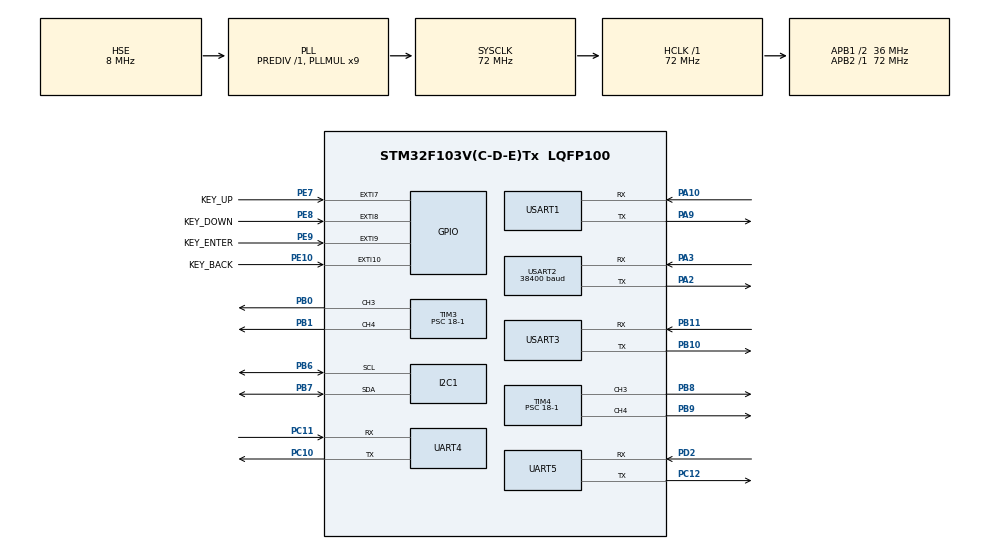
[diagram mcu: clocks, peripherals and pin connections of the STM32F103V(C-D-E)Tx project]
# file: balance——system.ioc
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Dma.Request0=USART2_RX
Dma.USART2_RX.0.Direction=DMA_PERIPH_TO_MEMORY
Dma.USART2_RX.0.Instance=DMA1_Channel6
Dma.USART2_RX.0.MemDataAlignment=DMA_MDATAALIGN_BYTE
Dma.USART2_RX.0.MemInc=DMA_MINC_ENABLE
Dma.USART2_RX.0.Mode=DMA_CIRCULAR
Dma.USART2_RX.0.PeriphDataAlignment=DMA_PDATAALIGN_BYTE
Dma.USART2_RX.0.PeriphInc=DMA_PINC_DISABLE
Dma.USART2_RX.0.Priority=DMA_PRIORITY_HIGH
Mcu.Family=STM32F1
Mcu.Name=STM32F103V(C-D-E)Tx
Mcu.Package=LQFP100
NVIC.DMA1_Channel6_IRQn=true\:2\:0\:true\:false\:true\:false\:true\:true
NVIC.EXTI15_10_IRQn=true\:5\:0\:true\:false\:true\:true\:true\:true
NVIC.EXTI9_5_IRQn=true\:5\:0\:true\:false\:true\:true\:true\:true
NVIC.PriorityGroup=NVIC_PRIORITYGROUP_4
NVIC.TIM6_IRQn=true\:1\:0\:true\:false\:true\:true\:true\:true
NVIC.UART4_IRQn=true\:3\:0\:true\:false\:true\:true\:true\:true
NVIC.USART1_IRQn=true\:2\:0\:true\:false\:true\:true\:true\:true
NVIC.USART2_IRQn=true\:2\:0\:true\:false\:true\:true\:true\:true
NVIC.USART3_IRQn=true\:4\:0\:true\:false\:true\:true\:true\:true
OSC_IN.Mode=HSE-External-Oscillator
OSC_IN.Signal=RCC_OSC_IN
OSC_OUT.Mode=HSE-External-Oscillator
OSC_OUT.Signal=RCC_OSC_OUT
PA10.Mode=Asynchronous
PA10.Signal=USART1_RX
PA13.Mode=Serial_Wire
PA13.Signal=SYS_JTMS-SWDIO
PA14.Mode=Serial_Wire
PA14.Signal=SYS_JTCK-SWCLK
PA2.Mode=Asynchronous
PA2.Signal=USART2_TX
PA3.Mode=Asynchronous
PA3.Signal=USART2_RX
PA9.Mode=Asynchronous
PA9.Signal=USART1_TX
PB0.Signal=S_TIM3_CH3
PB1.Signal=S_TIM3_CH4
PB10.Mode=Asynchronous
PB10.Signal=USART3_TX
PB11.Mode=Asynchronous
PB11.Signal=USART3_RX
PB6.Mode=I2C
PB6.Signal=I2C1_SCL
PB7.Mode=I2C
PB7.Signal=I2C1_SDA
PB8.Signal=S_TIM4_CH3
PB9.Signal=S_TIM4_CH4
PC10.Mode=Asynchronous
PC10.Signal=UART4_TX
PC11.Mode=Asynchronous
PC11.Signal=UART4_RX
PC12.Mode=Asynchronous
PC12.Signal=UART5_TX
PD2.Mode=Asynchronous
PD2.Signal=UART5_RX
PE10.GPIO_Label=KEY_BACK
PE10.GPIO_ModeDefaultEXTI=GPIO_MODE_IT_FALLING
PE10.Signal=GPXTI10
PE7.GPIO_Label=KEY_UP
PE7.GPIO_ModeDefaultEXTI=GPIO_MODE_IT_FALLING
PE7.Signal=GPXTI7
PE8.GPIO_Label=KEY_DOWN
PE8.GPIO_ModeDefaultEXTI=GPIO_MODE_IT_FALLING
PE8.Signal=GPXTI8
PE9.GPIO_Label=KEY_ENTER
PE9.GPIO_ModeDefaultEXTI=GPIO_MODE_IT_FALLING
PE9.Signal=GPXTI9
ProjectManager.HeapSize=0x200
ProjectManager.StackSize=0x400
ProjectManager.TargetToolchain=MDK-ARM V5.32
RCC.AHBFreq_Value=72000000
RCC.APB1CLKDivider=RCC_HCLK_DIV2
RCC.APB1Freq_Value=36000000
RCC.APB1TimFreq_Value=72000000
RCC.APB2Freq_Value=72000000
RCC.APB2TimFreq_Value=72000000
RCC.HCLKFreq_Value=72000000
RCC.PLLMUL=RCC_PLL_MUL9
RCC.PLLSourceVirtual=RCC_PLLSOURCE_HSE
RCC.SYSCLKFreq_VALUE=72000000
RCC.SYSCLKSource=RCC_SYSCLKSOURCE_PLLCLK
RCC.USBFreq_Value=72000000
SH.S_TIM3_CH3.0=TIM3_CH3,PWM Generation3 CH3
SH.S_TIM3_CH4.0=TIM3_CH4,PWM Generation4 CH4
SH.S_TIM4_CH3.0=TIM4_CH3,PWM Generation3 CH3
SH.S_TIM4_CH4.0=TIM4_CH4,PWM Generation4 CH4
TIM3.Channel-PWM\ Generation3\ CH3=TIM_CHANNEL_3
TIM3.Channel-PWM\ Generation4\ CH4=TIM_CHANNEL_4
TIM3.Period=1000-1
TIM3.Prescaler=18-1
TIM4.Channel-PWM\ Generation3\ CH3=TIM_CHANNEL_3
TIM4.Channel-PWM\ Generation4\ CH4=TIM_CHANNEL_4
TIM4.Period=1000-1
TIM4.Prescaler=18-1
TIM6.Period=100-1
TIM6.Prescaler=7200-1
UART4.VirtualMode=Asynchronous
UART5.VirtualMode=Asynchronous
USART1.VirtualMode=VM_ASYNC
USART2.BaudRate=38400
USART2.VirtualMode=VM_ASYNC
USART3.Parity=PARITY_EVEN
USART3.VirtualMode=VM_ASYNC
USART3.WordLength=WORDLENGTH_9B
VP_CRC_VS_CRC.Mode=CRC_Activate
VP_TIM6_VS_ClockSourceINT.Mode=Enable_Timer
board=custom

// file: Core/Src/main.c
/* USER CODE BEGIN Header */
/**
  ******************************************************************************
  * @file           : main.c
  * @brief          : Main program body
  ******************************************************************************
  * @attention
  *
  * Copyright (c) 2026 STMicroelectronics.
  * All rights reserved.
  *
  * This software is licensed under terms that can be found in the LICENSE file
  * in the root directory of this software component.
  * If no LICENSE file comes with this software, it is provided AS-IS.
  *
  ******************************************************************************
  */
/* USER CODE END Header */
#include "main.h"
#include "crc.h"
#include "dma.h"
#include "i2c.h"
#include "tim.h"
#include "usart.h"
#include "gpio.h"

/* USER CODE BEGIN Includes */
#include "OLED.h"
#include "Vision.h"
#include "BallBeam.h"
#include "Task_Hmi.h"
#include "Task_Manager.h"
#include "APP_SENSOR.h"
#include "motor.h"
#include "tracking.h"
#include "dwt_time.h"
#include "Emm_V5.h"

/* USER CODE END Includes */

void SystemClock_Config(void);

int main(void)
{

  /* MCU Configuration--------------------------------------------------------*/

  /* Reset of all peripherals, Initializes the Flash interface and the Systick. */
  HAL_Init();

  /* Configure the system clock */
  SystemClock_Config();

  /* Initialize all configured peripherals */
  MX_GPIO_Init();
  MX_DMA_Init();
  MX_CRC_Init();
  MX_TIM6_Init();
  MX_UART4_Init();
  MX_UART5_Init();
  MX_USART1_UART_Init();
  MX_USART2_UART_Init();
  MX_USART3_UART_Init();
  MX_TIM3_Init();
  MX_TIM4_Init();
  MX_I2C1_Init();
  /* USER CODE BEGIN 2 */
  OLED_Init();
  DWT_Time_Init();
  Vision_Init(&huart4);
  BallBeam_Init();
  BallBeam_SetRun(0U);
  HAL_Delay(300U);
  Emm_V5_Origin_Trigger_Return(1U, 0U, false);
  TaskHmi_Init(&huart2);
  APP_SENSOR_Init(&huart3);
  Motor_Init();
  Tracking_Init();
  TaskManager_Init(1U);

  /* USER CODE END 2 */

  /* Infinite loop */
  while (1)
  {

    /* USER CODE BEGIN 3 */
    Vision_Task();
    BallBeam_Task();
    TaskHmi_Task();
    APP_SENSOR_Task();
    TaskManager_Task();
  }
  /* USER CODE END 3 */
}

void SystemClock_Config(void)
{
  RCC_OscInitTypeDef RCC_OscInitStruct = {0};
  RCC_ClkInitTypeDef RCC_ClkInitStruct = {0};

  /** Initializes the RCC Oscillators according to the specified parameters
  * in the RCC_OscInitTypeDef structure.
  */
  RCC_OscInitStruct.OscillatorType = RCC_OSCILLATORTYPE_HSE;
  RCC_OscInitStruct.HSEState = RCC_HSE_ON;
  RCC_OscInitStruct.HSEPredivValue = RCC_HSE_PREDIV_DIV1;
  RCC_OscInitStruct.HSIState = RCC_HSI_ON;
  RCC_OscInitStruct.PLL.PLLState = RCC_PLL_ON;
  RCC_OscInitStruct.PLL.PLLSource = RCC_PLLSOURCE_HSE;
  RCC_OscInitStruct.PLL.PLLMUL = RCC_PLL_MUL9;
  if (HAL_RCC_OscConfig(&RCC_OscInitStruct) != HAL_OK)
  {
    Error_Handler();
  }

  /** Initializes the CPU, AHB and APB buses clocks
  */
  RCC_ClkInitStruct.ClockType = RCC_CLOCKTYPE_HCLK|RCC_CLOCKTYPE_SYSCLK
                              |RCC_CLOCKTYPE_PCLK1|RCC_CLOCKTYPE_PCLK2;
  RCC_ClkInitStruct.SYSCLKSource = RCC_SYSCLKSOURCE_PLLCLK;
  RCC_ClkInitStruct.AHBCLKDivider = RCC_SYSCLK_DIV1;
  RCC_ClkInitStruct.APB1CLKDivider = RCC_HCLK_DIV2;
  RCC_ClkInitStruct.APB2CLKDivider = RCC_HCLK_DIV1;

  if (HAL_RCC_ClockConfig(&RCC_ClkInitStruct, FLASH_LATENCY_2) != HAL_OK)
  {
    Error_Handler();
  }
}

/* USER CODE BEGIN 4 */
void HAL_UARTEx_RxEventCallback(UART_HandleTypeDef *huart, uint16_t size)
{
  Vision_UART_RxEventCallback(huart, size);
}

void HAL_UART_RxCpltCallback(UART_HandleTypeDef *huart)
{
  TaskHmi_UART_RxCpltCallback(huart);
  APP_SENSOR_UART_RxCpltCallback(huart);
}

void HAL_UART_ErrorCallback(UART_HandleTypeDef *huart)
{
  Vision_UART_ErrorCallback(huart);
  TaskHmi_UART_ErrorCallback(huart);
  APP_SENSOR_UART_ErrorCallback(huart);
}

/* USER CODE END 4 */

void Error_Handler(void)
{
  __disable_irq();
  while (1)
  {
  }
}
